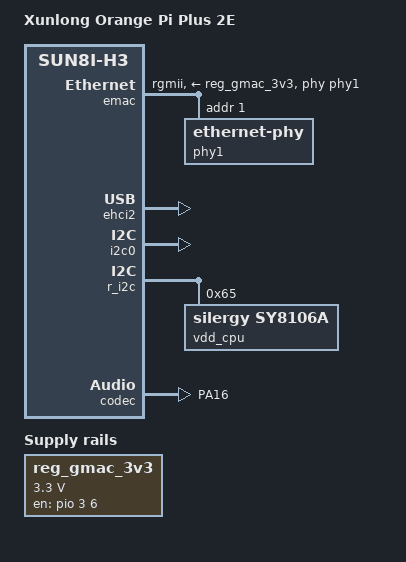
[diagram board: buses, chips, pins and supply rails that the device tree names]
/*-
 * Copyright (c) 2016 Jared McNeill <jmcneill@invisible.ca>
 * All rights reserved.
 *
 * Redistribution and use in source and binary forms, with or without
 * modification, are permitted provided that the following conditions
 * are met:
 * 1. Redistributions of source code must retain the above copyright
 *    notice, this list of conditions and the following disclaimer.
 * 2. Redistributions in binary form must reproduce the above copyright
 *    notice, this list of conditions and the following disclaimer in the
 *    documentation and/or other materials provided with the distribution.
 *
 * THIS SOFTWARE IS PROVIDED BY THE AUTHOR AND CONTRIBUTORS ``AS IS'' AND
 * ANY EXPRESS OR IMPLIED WARRANTIES, INCLUDING, BUT NOT LIMITED TO, THE
 * IMPLIED WARRANTIES OF MERCHANTABILITY AND FITNESS FOR A PARTICULAR PURPOSE
 * ARE DISCLAIMED.  IN NO EVENT SHALL THE AUTHOR OR CONTRIBUTORS BE LIABLE
 * FOR ANY DIRECT, INDIRECT, INCIDENTAL, SPECIAL, EXEMPLARY, OR CONSEQUENTIAL
 * DAMAGES (INCLUDING, BUT NOT LIMITED TO, PROCUREMENT OF SUBSTITUTE GOODS
 * OR SERVICES; LOSS OF USE, DATA, OR PROFITS; OR BUSINESS INTERRUPTION)
 * HOWEVER CAUSED AND ON ANY THEORY OF LIABILITY, WHETHER IN CONTRACT, STRICT
 * LIABILITY, OR TORT (INCLUDING NEGLIGENCE OR OTHERWISE) ARISING IN ANY WAY
 * OUT OF THE USE OF THIS SOFTWARE, EVEN IF ADVISED OF THE POSSIBILITY OF
 * SUCH DAMAGE.
 *
 * $FreeBSD$
 */

#include "sun8i-h3-orangepi-plus.dts"
#include "h3.dtsi"

/ {
	model = "Xunlong Orange Pi Plus 2E";
	compatible = "xunlong,orangepi-plus-2e", "allwinner,sun8i-h3";

	reg_gmac_3v3: gmac-3v3 {
		compatible = "regulator-fixed";
		pinctrl-names = "default";
		pinctrl-0 = <&emac_phy_reset_pin>;
		regulator-name = "gmac-3v3";
		regulator-min-microvolt = <3300000>;
		regulator-max-microvolt = <3300000>;
		startup-delay-us = <100000>;
		enable-active-high;
		gpio = <&pio 3 6 GPIO_ACTIVE_HIGH>;
	};
};

&pio {
	emac_phy_reset_pin: emac_phy_reset_pin@0 {
		allwinner,pins = "PD6";
		allwinner,function = "gpio_out";
		allwinner,drive = <SUN4I_PINCTRL_10_MA>;
		allwinner,pull = <SUN4I_PINCTRL_NO_PULL>;
	};

	codec_pa_pin: codec_pa_pin@0 {
		allwinner,pins = "PA16";
		allwinner,function = "gpio_out";
		allwinner,drive = <SUN4I_PINCTRL_10_MA>;
		allwinner,pull = <SUN4I_PINCTRL_NO_PULL>;
	};
};

&emac {
	pinctrl-names = "default";
	pinctrl-0 = <&emac_pins_rgmii_a>;
	phy-supply = <&reg_gmac_3v3>;
	phy-mode = "rgmii";
	phy = <&phy1>;

	allwinner,leds-active-low;
	status = "okay";

	phy1: ethernet-phy@1 {
		reg = <1>;
	};
};

&ehci2 {
	status = "okay";
};

&i2c0 {
	status = "okay";
};

&r_i2c {
	status = "okay";

	vdd_cpu: regulator@65 {
		compatible = "silergy,sy8106a";
		reg = <0x65>;

		regulator-name = "vdd-cpu";
		regulator-min-microvolt = <1000000>;
		regulator-max-microvolt = <1400000>;
		regulator-ramp-delay = <200>;
		regulator-boot-on;
		regulator-always-on;
	};
};

&codec {
	pinctrl-names = "default";
	pinctrl-0 = <&codec_pa_pin>;
	allwinner,pa-gpios = <&pio 0 16 GPIO_ACTIVE_HIGH>; /* PA16 */
	status = "okay";
};

&cpu0 {
	cpu-supply = <&vdd_cpu>;
	operating-points = <
		/* kHz	  uV */
		1296000	1340000
		1200000	1320000
		1008000	1200000
		816000	1100000
		648000	1040000
		>;
};
